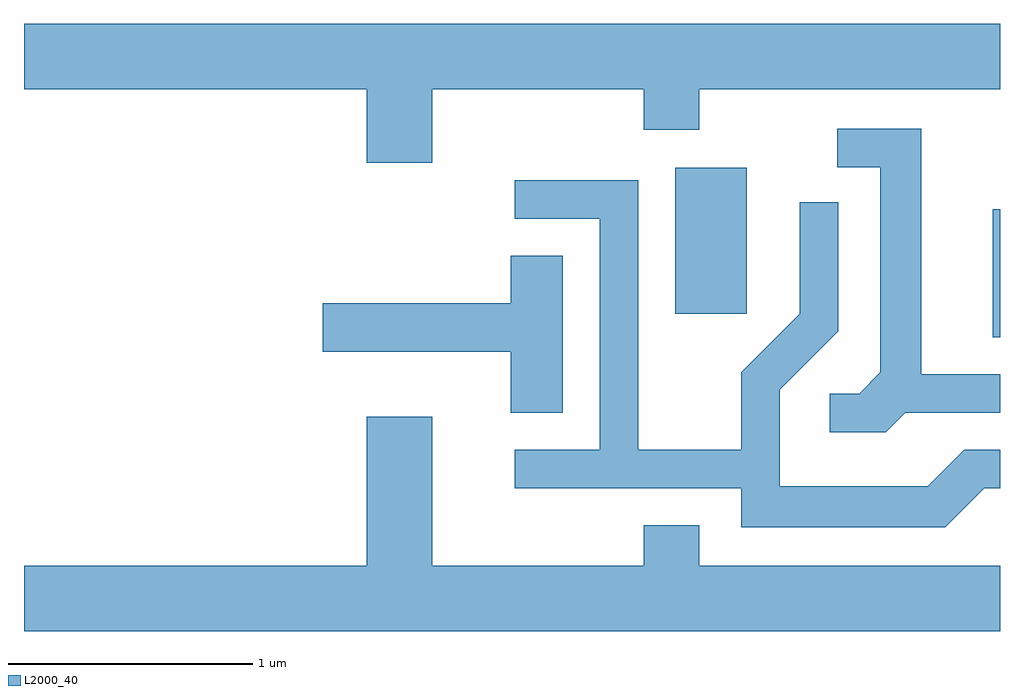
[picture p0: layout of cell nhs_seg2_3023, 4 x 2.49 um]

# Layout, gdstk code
import gdstk
lib = gdstk.Library(unit=1e-6, precision=1e-09)
def R(c, l, rs):  # rectangles x0, y0, x1, y1
    for r in rs: c.add(gdstk.rectangle(r[:2], r[2:], *l))
def P(c, l, *ps):  # polygons
    for p in ps: c.add(gdstk.Polygon(p, *l))
L2000_40 = (2000, 40)

nhs_seg2_3023 = lib.new_cell('nhs_seg2_3023')
R(nhs_seg2_3023, L2000_40, [(277.581,1053.961,277.611,1054.484), (276.281,1054.056,276.574,1054.654)])
P(nhs_seg2_3023, L2000_40, [(275.284,1054.976),(276.151,1054.976),(276.151,1054.811),(276.379,1054.811),(276.379,1054.976),(277.611,1054.976),(277.611,1055.244),(273.611,1055.244),(273.611,1054.976),(275.016,1054.976),(275.016,1054.676),(275.284,1054.676)],
  [(277.222,1053.651),(277.611,1053.651),(277.611,1053.809),(277.289,1053.809),(277.289,1054.814),(276.943,1054.814),(276.943,1054.656),(277.121,1054.656),(277.121,1053.817),(277.034,1053.729),(276.913,1053.729),(276.913,1053.571),(277.142,1053.571)],
  [(277.547,1053.341),(277.611,1053.341),(277.611,1053.499),(277.464,1053.499),(277.314,1053.349),(276.709,1053.349),(276.709,1053.744),(276.949,1053.984),(276.949,1054.513),(276.791,1054.513),(276.791,1054.057),(276.551,1053.817),(276.551,1053.499),(276.129,1053.499),(276.129,1054.604),(275.623,1054.604),(275.623,1054.446),(275.971,1054.446),(275.971,1053.499),(275.623,1053.499),(275.623,1053.341),(276.551,1053.341),(276.551,1053.181),(277.387,1053.181)],
  [(275.819,1054.294),(275.606,1054.294),(275.606,1054.099),(274.836,1054.099),(274.836,1053.901),(275.606,1053.901),(275.606,1053.651),(275.819,1053.651)],
  [(277.611,1053.024),(276.379,1053.024),(276.379,1053.189),(276.151,1053.189),(276.151,1053.024),(275.284,1053.024),(275.284,1053.634),(275.016,1053.634),(275.016,1053.024),(273.611,1053.024),(273.611,1052.756),(277.611,1052.756)])

lib.write_gds('nhs_seg2_3023.gds')
